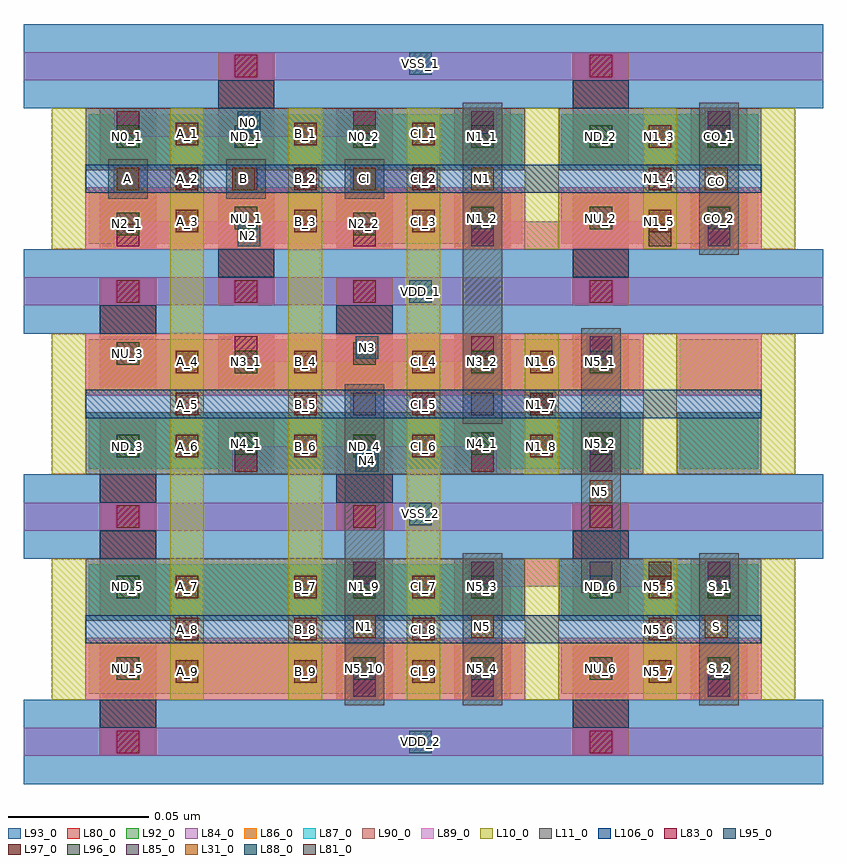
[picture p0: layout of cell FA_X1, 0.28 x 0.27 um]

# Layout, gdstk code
import gdstk
lib = gdstk.Library(unit=1e-6, precision=1e-09)
def R(c, l, rs):  # rectangles x0, y0, x1, y1
    for r in rs: c.add(gdstk.rectangle(r[:2], r[2:], *l))
def A(c, l, x, y, w, h, nx, ny, dx, dy):  # array of equal rectangles
    R(c, l, [(x+i*dx, y+j*dy, x+i*dx+w, y+j*dy+h) for i in range(nx) for j in range(ny)])
L10_0 = (10, 0)
L11_0 = (11, 0)
L31_0 = (31, 0)
L80_0 = (80, 0)
L81_0 = (81, 0)
L83_0 = (83, 0)
L84_0 = (84, 0)
L85_0 = (85, 0)
L86_0 = (86, 0)
L87_0 = (87, 0)
L88_0 = (88, 0)
L89_0 = (89, 0)
L90_0 = (90, 0)
L92_0 = (92, 0)
L93_0 = (93, 0)
L95_0 = (95, 0)
L96_0 = (96, 0)
L97_0 = (97, 0)
L106_0 = (106, 0)

fa_x1 = lib.new_cell('FA_X1')
A(fa_x1, L10_0, -0.027, -0.145, 0.012, 0.05, 1, 3, 0, 0.08)
A(fa_x1, L10_0, 0.015, -0.145, 0.012, 0.21, 3, 1, 0.042, 0)
A(fa_x1, L10_0, 0.141, -0.145, 0.012, 0.05, 3, 3, 0.042, 0.08)
A(fa_x1, L11_0, 0.161, -0.107, 0.014, 0.034, 1, 4, 0, 0.02)
A(fa_x1, L11_0, 0.119, -0.047, 0.014, 0.034, 1, 5, 0, 0.02)
A(fa_x1, L11_0, -0.007, 0.033, 0.014, 0.014, 3, 1, 0.042, 0)
R(fa_x1, L11_0, [(0.077,-0.147,0.091,-0.113), (0.119,-0.147,0.133,-0.113), (0.203,-0.147,0.217,-0.113), (0.077,-0.127,0.091,-0.033), (0.119,-0.127,0.133,-0.093), (0.203,-0.127,0.217,-0.093), (0.203,0.013,0.217,0.047), (0.203,0.033,0.217,0.067)])
R(fa_x1, L31_0, [(0.08,-0.123,0.088,-0.115), (0.122,-0.123,0.13,-0.115), (0.205,-0.123,0.213,-0.115), (0.164,-0.075,0.172,-0.067), (-0.004,0.036,0.004,0.044), (0.037,0.036,0.045,0.044), (0.08,0.036,0.088,0.044), (0.122,0.036,0.13,0.044), (0.205,0.036,0.213,0.044)])
A(fa_x1, L80_0, 0.074, -0.145, 0.02, 0.02, 4, 1, 0.042, 0)
A(fa_x1, L80_0, -0.01, -0.065, 0.02, 0.02, 5, 1, 0.042, 0)
A(fa_x1, L80_0, -0.01, 0.015, 0.02, 0.02, 6, 1, 0.042, 0)
R(fa_x1, L80_0, [(-0.01,-0.165,0.01,-0.144), (0.158,-0.165,0.178,-0.144), (-0.01,-0.145,0.01,-0.125), (-0.01,-0.115,0.01,-0.095), (-0.01,-0.115,0.01,-0.095), (0.074,-0.115,0.094,-0.095), (0.074,-0.115,0.094,-0.095), (0.116,-0.115,0.136,-0.095), (0.116,-0.115,0.136,-0.095), (0.158,-0.115,0.178,-0.095), (0.158,-0.115,0.178,-0.095), (0.2,-0.115,0.22,-0.095), (0.2,-0.115,0.22,-0.095), (-0.01,-0.104,0.01,-0.075), (0.158,-0.104,0.178,-0.075), (-0.01,-0.085,0.01,-0.064), (0.074,-0.085,0.094,-0.064), (-0.01,-0.035,0.01,-0.015), (-0.01,-0.035,0.01,-0.015), (0.032,-0.035,0.052,-0.015), (0.032,-0.035,0.052,-0.015), (0.074,-0.035,0.094,-0.015), (0.074,-0.035,0.094,-0.015), (0.116,-0.035,0.136,-0.015), (0.116,-0.035,0.136,-0.015), (0.158,-0.035,0.178,-0.015), (0.158,-0.035,0.178,-0.015), (-0.01,-0.024,0.01,0.005), (0.074,-0.024,0.094,0.005), (0.032,-0.005,0.052,0.016), (0.158,-0.005,0.178,0.016), (-0.01,0.045,0.01,0.065), (-0.01,0.045,0.01,0.065), (0.032,0.045,0.052,0.065), (0.032,0.045,0.052,0.065), (0.074,0.045,0.094,0.065), (0.074,0.045,0.094,0.065), (0.116,0.045,0.136,0.065), (0.116,0.045,0.136,0.065), (0.158,0.045,0.178,0.065), (0.158,0.045,0.178,0.065), (0.2,0.045,0.22,0.065), (0.2,0.045,0.22,0.065), (0.032,0.056,0.052,0.085), (0.158,0.056,0.178,0.085)])
A(fa_x1, L81_0, 0.017, 0.036, 0.008, 0.008, 3, 1, 0.042, 0)
R(fa_x1, L81_0, [(0.185,-0.104,0.193,-0.096), (0.143,-0.044,0.151,-0.036), (0.185,0.016,0.193,0.024)])
A(fa_x1, L83_0, 0.122, -0.144, 0.008, 0.008, 1, 6, 0, 0.04)
A(fa_x1, L83_0, -0.004, -0.084, 0.008, 0.008, 3, 1, 0.084, 0)
A(fa_x1, L83_0, -0.004, -0.004, 0.008, 0.008, 3, 1, 0.042, 0)
R(fa_x1, L83_0, [(-0.004,-0.164,0.004,-0.156), (0.164,-0.164,0.172,-0.156), (0.08,-0.144,0.088,-0.136), (0.206,-0.144,0.214,-0.136), (0.08,-0.104,0.088,-0.096), (0.206,-0.104,0.214,-0.096), (-0.004,-0.084,0.004,-0.076), (0.038,-0.064,0.046,-0.056), (0.164,-0.064,0.172,-0.056), (0.038,-0.024,0.046,-0.016), (0.164,-0.024,0.172,-0.016), (0.164,-0.004,0.172,0.004), (-0.004,0.016,0.004,0.024), (0.08,0.016,0.088,0.024), (0.206,0.016,0.214,0.024), (-0.004,0.056,0.004,0.064), (-0.004,0.056,0.004,0.064), (-0.004,0.056,0.004,0.064), (-0.004,0.056,0.004,0.064), (-0.004,0.056,0.004,0.064), (-0.004,0.056,0.004,0.064), (0.08,0.056,0.088,0.064), (0.206,0.056,0.214,0.064), (0.206,0.056,0.214,0.064), (0.038,0.076,0.046,0.084), (0.164,0.076,0.172,0.084)])
A(fa_x1, L84_0, -0.037, -0.165, 0.284, 0.01, 1, 4, 0, 0.08)
A(fa_x1, L84_0, 0.121, -0.105, 0.031, 0.01, 3, 2, 0.021, 0.12)
A(fa_x1, L84_0, 0.037, -0.065, 0.031, 0.01, 4, 2, 0.021, 0.04)
A(fa_x1, L84_0, -0.005, 0.015, 0.031, 0.01, 4, 2, 0.021, 0.04)
A(fa_x1, L84_0, -0.005, 0.035, 0.031, 0.01, 3, 1, 0.042, 0)
R(fa_x1, L84_0, [(0.079,-0.145,0.089,-0.135), (0.121,-0.145,0.131,-0.135), (0.205,-0.145,0.215,-0.135), (0.205,-0.105,0.215,-0.095), (0.163,-0.065,0.173,-0.055), (0.079,-0.045,0.152,-0.035), (0.163,-0.025,0.173,-0.015), (0.205,0.015,0.215,0.025), (0.121,0.055,0.131,0.065), (0.205,0.055,0.215,0.065)])
A(fa_x1, L85_0, 0.08, -0.104, 0.008, 0.008, 4, 1, 0.042, 0)
A(fa_x1, L85_0, -0.004, 0.036, 0.008, 0.008, 3, 1, 0.042, 0)
R(fa_x1, L85_0, [(0.08,-0.144,0.088,-0.136), (0.122,-0.144,0.13,-0.136), (0.206,-0.144,0.214,-0.136), (0.164,-0.064,0.172,-0.056), (0.08,-0.044,0.088,-0.036), (0.122,-0.044,0.13,-0.036), (0.164,-0.024,0.172,-0.016), (0.122,0.016,0.13,0.024), (0.206,0.016,0.214,0.024), (0.122,0.056,0.13,0.064), (0.206,0.056,0.214,0.064)])
R(fa_x1, L86_0, [(-0.015,-0.145,0.141,-0.123), (0.153,-0.145,0.225,-0.123), (-0.015,-0.037,0.183,-0.015), (0.195,-0.037,0.225,-0.015), (-0.015,0.015,0.141,0.037), (0.153,0.015,0.225,0.037)])
R(fa_x1, L87_0, [(-0.015,-0.117,0.141,-0.095), (0.153,-0.117,0.225,-0.095), (-0.015,-0.065,0.183,-0.043), (0.195,-0.065,0.225,-0.043), (-0.015,0.043,0.141,0.065), (0.153,0.043,0.225,0.065)])
R(fa_x1, L88_0, [(0.1,-0.164,0.108,-0.156), (0.1,-0.083,0.108,-0.075), (0.081,-0.064,0.089,-0.056), (0.081,-0.024,0.089,-0.016), (0.1,-0.004,0.108,0.004), (0.039,0.016,0.047,0.024), (0.039,0.056,0.047,0.064), (0.1,0.077,0.108,0.085)])
R(fa_x1, L89_0, [(-0.015,-0.145,0.141,-0.123), (0.153,-0.145,0.225,-0.123), (-0.015,-0.037,0.183,-0.015), (0.195,-0.037,0.225,-0.015), (-0.015,0.015,0.141,0.037), (0.153,0.015,0.225,0.037)])
R(fa_x1, L90_0, [(-0.015,-0.117,0.141,-0.095), (0.153,-0.117,0.225,-0.095), (-0.015,-0.065,0.183,-0.043), (0.195,-0.065,0.225,-0.043), (-0.015,0.043,0.141,0.065), (0.153,0.043,0.225,0.065)])
R(fa_x1, L92_0, [(-0.014,-0.143,0.14,-0.125), (0.154,-0.143,0.224,-0.125), (-0.014,-0.115,0.14,-0.097), (0.154,-0.115,0.224,-0.097), (-0.014,-0.063,0.182,-0.045), (0.196,-0.063,0.224,-0.045), (-0.014,-0.035,0.182,-0.017), (0.196,-0.035,0.224,-0.017), (-0.014,0.017,0.14,0.035), (0.154,0.017,0.224,0.035), (-0.014,0.045,0.14,0.063), (0.154,0.045,0.224,0.063)])
A(fa_x1, L93_0, -0.037, -0.175, 0.284, 0.03, 1, 4, 0, 0.08)
R(fa_x1, L95_0, [(-0.01,-0.155,0.01,-0.145), (0.158,-0.155,0.178,-0.145), (-0.01,-0.095,0.01,-0.085), (0.158,-0.095,0.178,-0.085), (-0.01,-0.075,0.01,-0.065), (0.074,-0.075,0.094,-0.065), (-0.01,-0.015,0.01,-0.005), (0.074,-0.015,0.094,-0.005), (0.032,0.005,0.052,0.015), (0.158,0.005,0.178,0.015), (0.032,0.065,0.052,0.075), (0.158,0.065,0.178,0.075)])
A(fa_x1, L96_0, 0.08, -0.138, 0.008, 0.008, 4, 2, 0.042, 0.029)
A(fa_x1, L96_0, 0.122, 0.022, 0.008, 0.008, 3, 1, 0.042, 0)
A(fa_x1, L96_0, -0.004, 0.051, 0.008, 0.008, 6, 1, 0.042, 0)
R(fa_x1, L96_0, [(-0.004,-0.138,0.004,-0.13), (-0.004,-0.109,0.004,-0.101), (-0.004,-0.059,0.004,-0.051), (0.08,-0.059,0.088,-0.051), (0.038,-0.058,0.046,-0.05), (0.122,-0.058,0.13,-0.05), (0.164,-0.058,0.172,-0.05), (0.038,-0.029,0.046,-0.021), (0.122,-0.029,0.13,-0.021), (0.164,-0.029,0.172,-0.021), (-0.004,-0.026,0.004,-0.018), (0.08,-0.026,0.088,-0.018), (-0.004,0.02,0.004,0.028), (0.08,0.02,0.088,0.028), (0.038,0.022,0.046,0.03)])
A(fa_x1, L97_0, 0.017, -0.139, 0.008, 0.008, 3, 3, 0.042, 0.015)
A(fa_x1, L97_0, 0.185, -0.139, 0.008, 0.008, 1, 3, 0, 0.015)
A(fa_x1, L97_0, 0.017, -0.059, 0.008, 0.008, 4, 3, 0.042, 0.015)
A(fa_x1, L97_0, 0.017, 0.021, 0.008, 0.008, 3, 2, 0.042, 0.015)
A(fa_x1, L97_0, 0.185, 0.021, 0.008, 0.008, 1, 3, 0, 0.015)
A(fa_x1, L97_0, 0.017, 0.052, 0.008, 0.008, 3, 1, 0.042, 0)
A(fa_x1, L106_0, -0.015, -0.125, 0.24, 0.01, 1, 3, 0, 0.08)
fa_x1.add(gdstk.Label('N4', (0.085,-0.06), layer=88, texttype=0))
fa_x1.add(gdstk.Label('N3', (0.085,-0.02), layer=88, texttype=0))
fa_x1.add(gdstk.Label('N2', (0.043,0.02), layer=88, texttype=0))
fa_x1.add(gdstk.Label('N0', (0.043,0.06), layer=88, texttype=0))
fa_x1.add(gdstk.Label('VDD_2', (0.104,-0.16), layer=88, texttype=0))
fa_x1.add(gdstk.Label('VDD_1', (0.104,0), layer=88, texttype=0))
fa_x1.add(gdstk.Label('VSS_2', (0.104,-0.079), layer=88, texttype=0))
fa_x1.add(gdstk.Label('VSS_1', (0.104,0.081), layer=88, texttype=0))
fa_x1.add(gdstk.Label('N5', (0.168,-0.071), layer=31, texttype=0))
fa_x1.add(gdstk.Label('N5', (0.126,-0.119), layer=31, texttype=0))
fa_x1.add(gdstk.Label('N1', (0.126,0.04), layer=31, texttype=0))
fa_x1.add(gdstk.Label('B', (0.041,0.04), layer=31, texttype=0))
fa_x1.add(gdstk.Label('A', (0,0.04), layer=31, texttype=0))
fa_x1.add(gdstk.Label('S', (0.209,-0.119), layer=31, texttype=0))
fa_x1.add(gdstk.Label('CO', (0.209,0.039), layer=31, texttype=0))
fa_x1.add(gdstk.Label('CI', (0.084,0.04), layer=31, texttype=0))
fa_x1.add(gdstk.Label('N1', (0.084,-0.119), layer=31, texttype=0))
fa_x1.add(gdstk.Label('S_1', (0.21,-0.105), layer=96, texttype=0))
fa_x1.add(gdstk.Label('S_2', (0.21,-0.134), layer=96, texttype=0))
fa_x1.add(gdstk.Label('N5_3', (0.126,-0.105), layer=96, texttype=0))
fa_x1.add(gdstk.Label('N5_4', (0.126,-0.134), layer=96, texttype=0))
fa_x1.add(gdstk.Label('N5_2', (0.168,-0.054), layer=96, texttype=0))
fa_x1.add(gdstk.Label('N5_1', (0.168,-0.025), layer=96, texttype=0))
fa_x1.add(gdstk.Label('N4_1', (0.126,-0.054), layer=96, texttype=0))
fa_x1.add(gdstk.Label('N4_1', (0.042,-0.054), layer=96, texttype=0))
fa_x1.add(gdstk.Label('N3_1', (0.042,-0.025), layer=96, texttype=0))
fa_x1.add(gdstk.Label('N3_2', (0.126,-0.025), layer=96, texttype=0))
fa_x1.add(gdstk.Label('ND_5', (0,-0.105), layer=96, texttype=0))
fa_x1.add(gdstk.Label('NU_5', (0,-0.134), layer=96, texttype=0))
fa_x1.add(gdstk.Label('ND_6', (0.168,-0.105), layer=96, texttype=0))
fa_x1.add(gdstk.Label('NU_6', (0.168,-0.134), layer=96, texttype=0))
fa_x1.add(gdstk.Label('ND_4', (0.084,-0.055), layer=96, texttype=0))
fa_x1.add(gdstk.Label('NU_4', (0.084,-0.022), layer=96, texttype=0))
fa_x1.add(gdstk.Label('NU_3', (0,-0.022), layer=96, texttype=0))
fa_x1.add(gdstk.Label('ND_3', (0,-0.055), layer=96, texttype=0))
fa_x1.add(gdstk.Label('CO_1', (0.21,0.055), layer=96, texttype=0))
fa_x1.add(gdstk.Label('CO_2', (0.21,0.026), layer=96, texttype=0))
fa_x1.add(gdstk.Label('NU_2', (0.168,0.026), layer=96, texttype=0))
fa_x1.add(gdstk.Label('ND_2', (0.168,0.055), layer=96, texttype=0))
fa_x1.add(gdstk.Label('N1_1', (0.126,0.055), layer=96, texttype=0))
fa_x1.add(gdstk.Label('N1_2', (0.126,0.026), layer=96, texttype=0))
fa_x1.add(gdstk.Label('N2_1', (0,0.024), layer=96, texttype=0))
fa_x1.add(gdstk.Label('N2_2', (0.084,0.024), layer=96, texttype=0))
fa_x1.add(gdstk.Label('N0_2', (0.084,0.055), layer=96, texttype=0))
fa_x1.add(gdstk.Label('N0_1', (0,0.055), layer=96, texttype=0))
fa_x1.add(gdstk.Label('NU_1', (0.042,0.026), layer=96, texttype=0))
fa_x1.add(gdstk.Label('ND_1', (0.042,0.055), layer=96, texttype=0))
fa_x1.add(gdstk.Label('N1_9', (0.084,-0.105), layer=96, texttype=0))
fa_x1.add(gdstk.Label('N5_10', (0.084,-0.134), layer=96, texttype=0))
fa_x1.add(gdstk.Label('N5_5', (0.189,-0.105), layer=97, texttype=0))
fa_x1.add(gdstk.Label('N5_6', (0.189,-0.12), layer=97, texttype=0))
fa_x1.add(gdstk.Label('N5_7', (0.189,-0.135), layer=97, texttype=0))
fa_x1.add(gdstk.Label('N1_4', (0.189,0.04), layer=97, texttype=0))
fa_x1.add(gdstk.Label('N1_3', (0.189,0.055), layer=97, texttype=0))
fa_x1.add(gdstk.Label('N1_5', (0.189,0.025), layer=97, texttype=0))
fa_x1.add(gdstk.Label('N1_6', (0.147,-0.025), layer=97, texttype=0))
fa_x1.add(gdstk.Label('N1_7', (0.147,-0.04), layer=97, texttype=0))
fa_x1.add(gdstk.Label('N1_8', (0.147,-0.055), layer=97, texttype=0))
fa_x1.add(gdstk.Label('CI_9', (0.105,-0.135), layer=97, texttype=0))
fa_x1.add(gdstk.Label('CI_8', (0.105,-0.12), layer=97, texttype=0))
fa_x1.add(gdstk.Label('CI_7', (0.105,-0.105), layer=97, texttype=0))
fa_x1.add(gdstk.Label('CI_6', (0.105,-0.055), layer=97, texttype=0))
fa_x1.add(gdstk.Label('CI_5', (0.105,-0.04), layer=97, texttype=0))
fa_x1.add(gdstk.Label('CI_4', (0.105,-0.025), layer=97, texttype=0))
fa_x1.add(gdstk.Label('CI_3', (0.105,0.025), layer=97, texttype=0))
fa_x1.add(gdstk.Label('CI_2', (0.105,0.04), layer=97, texttype=0))
fa_x1.add(gdstk.Label('CI_1', (0.105,0.056), layer=97, texttype=0))
fa_x1.add(gdstk.Label('B_3', (0.063,0.025), layer=97, texttype=0))
fa_x1.add(gdstk.Label('B_1', (0.063,0.056), layer=97, texttype=0))
fa_x1.add(gdstk.Label('B_2', (0.063,0.04), layer=97, texttype=0))
fa_x1.add(gdstk.Label('B_6', (0.063,-0.055), layer=97, texttype=0))
fa_x1.add(gdstk.Label('B_4', (0.063,-0.025), layer=97, texttype=0))
fa_x1.add(gdstk.Label('B_5', (0.063,-0.04), layer=97, texttype=0))
fa_x1.add(gdstk.Label('B_9', (0.063,-0.135), layer=97, texttype=0))
fa_x1.add(gdstk.Label('B_8', (0.063,-0.12), layer=97, texttype=0))
fa_x1.add(gdstk.Label('B_7', (0.063,-0.105), layer=97, texttype=0))
fa_x1.add(gdstk.Label('A_7', (0.021,-0.105), layer=97, texttype=0))
fa_x1.add(gdstk.Label('A_8', (0.021,-0.12), layer=97, texttype=0))
fa_x1.add(gdstk.Label('A_9', (0.021,-0.135), layer=97, texttype=0))
fa_x1.add(gdstk.Label('A_5', (0.021,-0.04), layer=97, texttype=0))
fa_x1.add(gdstk.Label('A_4', (0.021,-0.025), layer=97, texttype=0))
fa_x1.add(gdstk.Label('A_6', (0.021,-0.055), layer=97, texttype=0))
fa_x1.add(gdstk.Label('A_2', (0.021,0.04), layer=97, texttype=0))
fa_x1.add(gdstk.Label('A_1', (0.021,0.056), layer=97, texttype=0))
fa_x1.add(gdstk.Label('A_3', (0.021,0.025), layer=97, texttype=0))

lib.write_gds('FA_X1.gds')
